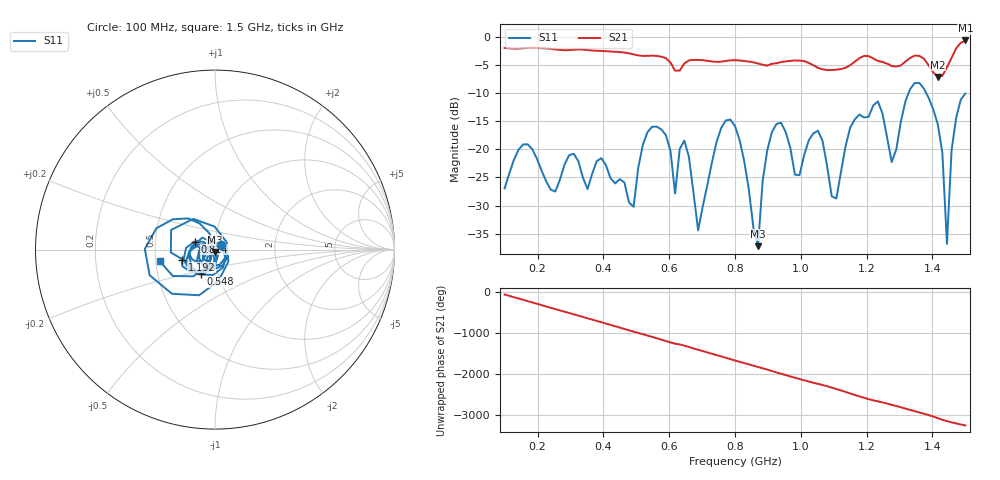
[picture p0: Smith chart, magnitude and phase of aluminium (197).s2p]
! NanoVNA-App
! Date: 2025-09-25 14:56:49
! Start: 100MHz Stop: 1,5GHz Points: 101
! S-Parameter data: F S11 S21 S12 S22
# Hz S RI R 50
!  Frequency  S11_Real  S11_Imag  S21_Real  S21_Imag  S12_Real  S12_Imag  S22_Real  S22_Imag
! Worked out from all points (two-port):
!   101 points, 100 MHz to 1.5 GHz, reference 50 ohm
!   highest |S21| = -0.58 dB at 1.5 GHz (marker M1); lowest = -7.1 dB at 1.416 GHz (marker M2)
!   |S21| within 3 dB of the highest: start of sweep to 581.9 MHz; 1.459 GHz to end of sweep (the widest 2 of 4)
!   lowest |S11| = -37.2 dB at 870 MHz (marker M3), VSWR 1.03, Z = 49.9 - j1.37 ohm
!   |S11| at or under -10 dB: start of sweep to 1.327 GHz; 1.381 GHz to end of sweep
!   S12 and S22 are empty: the file has one direction only
!   S11 on the Smith chart (normalised r, x): 100 MHz: 1.07, +0.06; 548 MHz: 0.82, -0.23; 814 MHz: 0.79, +0.07; 1.192 GHz: 0.69, -0.08; 1.5 GHz: 0.53, -0.07
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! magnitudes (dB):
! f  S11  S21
! 100 MHz  -27.0  -1.9
! 338 MHz  -25.0  -2.2
! 492 MHz  -30.2  -3.1
! 548 MHz  -16.0  -3.3
! 576 MHz  -16.4  -3.5
! 618 MHz  -27.9  -6.0
! 646 MHz  -18.4  -4.7
! 688 MHz  -34.4  -4.1
! 800 MHz  -15.9  -4.1
! 814 MHz  -18.3  -4.2
! 870 MHz  -37.2  -4.7
! 912 MHz  -16.9  -4.7
! 996 MHz  -24.6  -4.2
! 1.038 GHz  -17.2  -5.0
! 1.108 GHz  -28.7  -5.8
! 1.192 GHz  -14.3  -3.3
! 1.276 GHz  -22.3  -5.1
! 1.346 GHz  -8.2  -3.3
! 1.416 GHz  -15.5  -7.1
! 1.444 GHz  -36.9  -5.4
! 1.458 GHz  -20.2  -3.7
! 1.5 GHz  -10.0  -0.6
